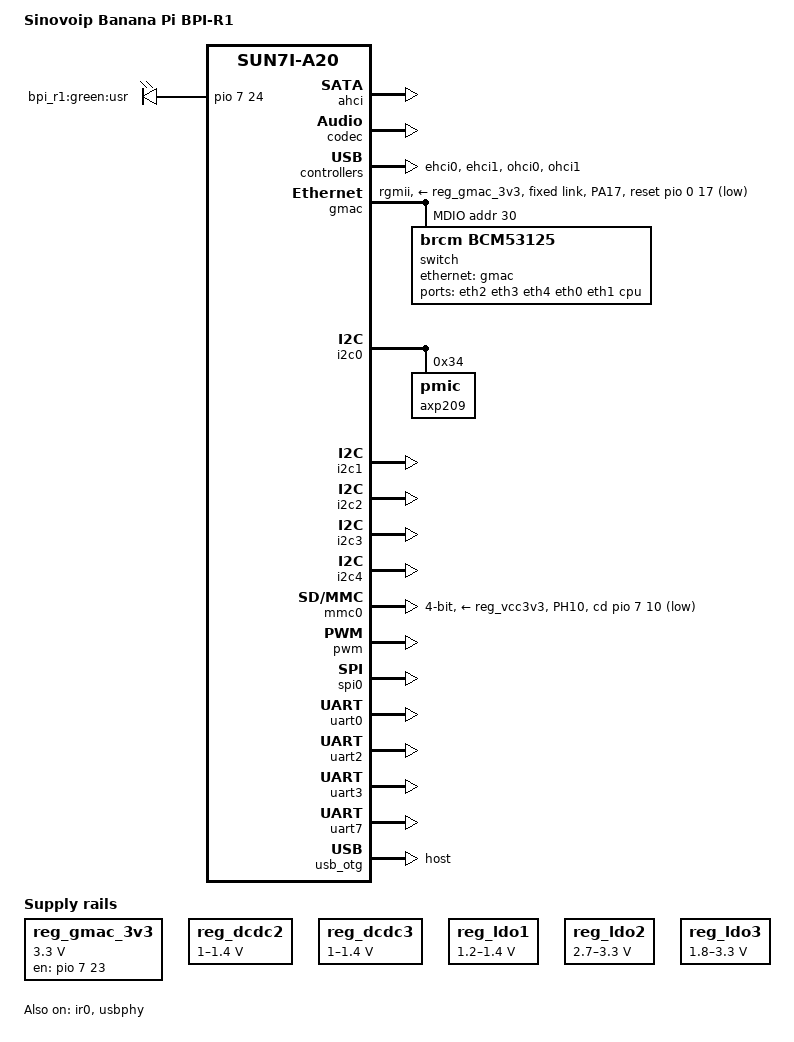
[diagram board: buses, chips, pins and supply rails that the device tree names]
/*
 * Copyright 2015 Jelle de Jong <jelledejong@powercraft.nl>
 * Changes copyright 2016 Stephen L Arnold <nerdboy@gentoo.org>
 *
 * This file is dual-licensed: you can use it either under the terms
 * of the GPL or the X11 license, at your option. Note that this dual
 * licensing only applies to this file, and not this project as a
 * whole.
 *
 *  a) This file is free software; you can redistribute it and/or
 *     modify it under the terms of the GNU General Public License as
 *     published by the Free Software Foundation; either version 2 of the
 *     License, or (at your option) any later version.
 *
 *     This file is distributed in the hope that it will be useful,
 *     but WITHOUT ANY WARRANTY; without even the implied warranty of
 *     MERCHANTABILITY or FITNESS FOR A PARTICULAR PURPOSE.  See the
 *     GNU General Public License for more details.
 *
 * Or, alternatively,
 *
 *  b) Permission is hereby granted, free of charge, to any person
 *     obtaining a copy of this software and associated documentation
 *     files (the "Software"), to deal in the Software without
 *     restriction, including without limitation the rights to use,
 *     copy, modify, merge, publish, distribute, sublicense, and/or
 *     sell copies of the Software, and to permit persons to whom the
 *     Software is furnished to do so, subject to the following
 *     conditions:
 *
 *     The above copyright notice and this permission notice shall be
 *     included in all copies or substantial portions of the Software.
 *
 *     THE SOFTWARE IS PROVIDED "AS IS", WITHOUT WARRANTY OF ANY KIND,
 *     EXPRESS OR IMPLIED, INCLUDING BUT NOT LIMITED TO THE WARRANTIES
 *     OF MERCHANTABILITY, FITNESS FOR A PARTICULAR PURPOSE AND
 *     NONINFRINGEMENT. IN NO EVENT SHALL THE AUTHORS OR COPYRIGHT
 *     HOLDERS BE LIABLE FOR ANY CLAIM, DAMAGES OR OTHER LIABILITY,
 *     WHETHER IN AN ACTION OF CONTRACT, TORT OR OTHERWISE, ARISING
 *     FROM, OUT OF OR IN CONNECTION WITH THE SOFTWARE OR THE USE OR
 *     OTHER DEALINGS IN THE SOFTWARE.
 */

/dts-v1/;
#include "sun7i-a20.dtsi"
#include "sunxi-common-regulators.dtsi"

#include <dt-bindings/gpio/gpio.h>
#include <dt-bindings/interrupt-controller/irq.h>
#include <dt-bindings/pinctrl/sun4i-a10.h>

/ {
	model = "Sinovoip Banana Pi BPI-R1";
	compatible = "sinovoip,sinovoip-bpi-r1", "allwinner,sun7i-a20";

	aliases {
		serial0 = &uart0;
		serial1 = &uart2;
		serial2 = &uart7;
	};

	chosen {
		stdout-path = "serial0:115200n8";
	};

	leds {
		compatible = "gpio-leds";
		pinctrl-names = "default";
		pinctrl-0 = <&led_pins_bpi_r1>;

		green {
			label = "bpi_r1:green:usr";
			gpios = <&pio 7 24 GPIO_ACTIVE_HIGH>;
			linux,default-trigger = "heartbeat";
		};
	};

//	reg_axp_ipsout: axp-ipsout {
//		compatible = "regulator-fixed";
//		regulator-name = "axp-ipsout";
//		regulator-min-microvolt = <5000000>;
//		regulator-max-microvolt = <5000000>;
//		regulator-always-on;
//	};

//	reg_dram_vcc: dram-vcc {
//		compatible = "regulator-fixed";
//		regulator-name = "dram-vcc";
//		regulator-min-microvolt = <1500000>;
//		regulator-max-microvolt = <1500000>;
//	};

	reg_gmac_3v3: gmac-3v3 {
		compatible = "regulator-fixed";
		pinctrl-names = "default";
		pinctrl-0 = <&gmac_power_pin_bpi_r1>;
		regulator-name = "gmac-3v3";
		regulator-min-microvolt = <3300000>;
		regulator-max-microvolt = <3300000>;
		startup-delay-us = <100000>;
		enable-active-high;
		gpio = <&pio 7 23 GPIO_ACTIVE_HIGH>; /* PH23 */
	};
};

&cpu0 {
	cpu-supply = <&reg_dcdc2>;
};

&ahci {
	target-supply = <&reg_ahci_5v>;
	status = "okay";
};

&codec {
	status = "okay";
};

&ehci0 {
	status = "okay";
};

&ehci1 {
	status = "okay";
};

&gmac {
	pinctrl-names = "default";
	pinctrl-0 = <&gmac_pins_rgmii_a>, <&gmac_phy_reset_pin_bpi_r1>;
	phy-mode = "rgmii";
	phy-supply = <&reg_gmac_3v3>;
	snps,reset-gpio = <&pio 0 17 GPIO_ACTIVE_HIGH>; /* PA17 */
	snps,reset-active-low;
	/* wait 1 sec after reset, otherwise fail to read phy id */
	snps,reset-delays-us = <0 10000 1000000>;
	status = "okay";

	/* 1 is ~10% faster than 2 on BPI-R1 */
	snps,pbl = <1>;

	fixed-link {
		speed = <1000>;
		full-duplex;
	};

	mdio {
		compatible = "snps,dwmac-mdio";
		#address-cells = <1>;
		#size-cells = <0>;

		switch: ethernet-switch@1e {
			compatible = "brcm,bcm53125";
			reg = <30>;
			#address-cells = <1>;
			#size-cells = <0>;

			ports {
				#address-cells = <1>;
				#size-cells = <0>;
				/* LAN ports numbered eth0-4 from right
				   to left (note there is no WAN port) */
				port0: port@0 {
					reg = <0>;
					label = "eth2";
				};

				port1: port@1 {
					reg = <1>;
					label = "eth3";
				};

				port2: port@2 {
					reg = <2>;
					label = "eth4";
				};

				port3: port@3 {
					reg = <3>;
					label = "eth0";
				};

				port4: port@4 {
					reg = <4>;
					label = "eth1";
				};

				port8: port@8 {
					reg = <8>;
					label = "cpu";
					ethernet = <&gmac>;
					phy-mode = "rgmii";
					fixed-link {
						speed = <1000>;
						full-duplex;
					};
				};
			};
		};
	};
};

&i2c0 {
	pinctrl-names = "default";
	pinctrl-0 = <&i2c0_pins_a>;
	status = "okay";

	axp209: pmic@34 {
		reg = <0x34>;
		interrupt-parent = <&nmi_intc>;
		interrupts = <0 IRQ_TYPE_LEVEL_LOW>;

//		acin-supply = <&reg_axp_ipsout>;
//		vin2-supply = <&reg_axp_ipsout>;
//		vin3-supply = <&reg_axp_ipsout>;
//		ldo24in-supply = <&reg_axp_ipsout>;
//		ldo3in-supply = <&reg_axp_ipsout>;

//		regulators {
//			vdd_rtc: ldo1 {
//				regulator-min-microvolt = <1300000>;
//				regulator-max-microvolt = <1300000>;
//				regulator-always-on;
//				regulator-name = "vdd-rtc";
//			};

//			avcc: ldo2 {
//				regulator-min-microvolt = <3000000>;
//				regulator-max-microvolt = <3000000>;
//				regulator-always-on;
//				regulator-name = "avcc";
//			};

//			vcc_csi0: ldo3 {
//				regulator-min-microvolt = <2800000>;
//				regulator-max-microvolt = <2800000>;
//				regulator-always-on;
//				regulator-name = "vcc-csi0";
//			};

//			vcc_csi1: ldo4 {
//				regulator-min-microvolt = <1250000>;
//				regulator-max-microvolt = <3300000>;
//				regulator-always-on;
//				regulator-name = "vcc-csi1";
//			};

//			vdd_cpu: dcdc2 {
//				regulator-min-microvolt = <1000000>;
//				regulator-max-microvolt = <1400000>;
//				regulator-always-on;
//				regulator-name = "vdd-cpu";
//			};

//			vdd_int: dcdc3 {
//				regulator-min-microvolt = <1000000>;
//				regulator-max-microvolt = <1400000>;
//				regulator-always-on;
//				regulator-name = "vdd-int-dll";
//			};
//		};
	};
};

&i2c1 {
	pinctrl-names = "default";
	pinctrl-0 = <&i2c1_pins_a>;
	status = "okay";
};

&i2c2 {
	pinctrl-names = "default";
	pinctrl-0 = <&i2c2_pins_a>;
	status = "okay";
};

&i2c3 {
	pinctrl-names = "default";
	pinctrl-0 = <&i2c3_pins_a>;
	status = "okay";
};

&i2c4 {
	/* this one goes on the Pi-style header; conflicts with pwm1 */
	pinctrl-names = "default";
	pinctrl-0 = <&i2c4_pins_a>;
	status = "okay";
};

&ir0 {
	pinctrl-names = "default";
	pinctrl-0 = <&ir0_rx_pins_a>;
	status = "okay";
};

&mmc0 {
	pinctrl-names = "default";
	pinctrl-0 = <&mmc0_pins_a>, <&mmc0_cd_pin_bpi_r1>;
	vmmc-supply = <&reg_vcc3v3>;
	bus-width = <4>;
	cd-gpios = <&pio 7 10 GPIO_ACTIVE_HIGH>; /* PH10 */
	cd-inverted;
	status = "okay";
};

&ohci0 {
	status = "okay";
};

&ohci1 {
	status = "okay";
};

&otg_sram {
	status = "okay";
};

&pio {
	usb0_id_detect_pin: usb0_id_detect_pin@0 {
		allwinner,pins = "PH4";
		allwinner,function = "gpio_in";
		allwinner,drive = <SUN4I_PINCTRL_10_MA>;
		allwinner,pull = <SUN4I_PINCTRL_NO_PULL>;
	};

	usb0_vbus_detect_pin: usb0_vbus_detect_pin@0 {
		allwinner,pins = "PH5";
		allwinner,function = "gpio_in";
		allwinner,drive = <SUN4I_PINCTRL_10_MA>;
		allwinner,pull = <SUN4I_PINCTRL_NO_PULL>;
	};

	usb0_vbus_pin_bpi_r1: usb0_vbus_pin@0 {
		allwinner,pins = "PB9";
		allwinner,function = "gpio_out";
		allwinner,drive = <SUN4I_PINCTRL_10_MA>;
		allwinner,pull = <SUN4I_PINCTRL_NO_PULL>;
	};

	usb2_vbus_pin_bpi_r1: usb2_vbus_pin@0 {
		allwinner,pins = "PH3";
		allwinner,function = "gpio_out";
		allwinner,drive = <SUN4I_PINCTRL_10_MA>;
		allwinner,pull = <SUN4I_PINCTRL_NO_PULL>;
	};

	mmc0_cd_pin_bpi_r1: mmc0_cd_pin@0 {
		allwinner,pins = "PH10";
		allwinner,function = "gpio_in";
		allwinner,drive = <SUN4I_PINCTRL_10_MA>;
		allwinner,pull = <SUN4I_PINCTRL_NO_PULL>;
	};

	gmac_power_pin_bpi_r1: gmac_power_pin@0 {
		allwinner,pins = "PH23";
		allwinner,function = "gpio_out";
		allwinner,drive = <SUN4I_PINCTRL_10_MA>;
		allwinner,pull = <SUN4I_PINCTRL_NO_PULL>;
	};

	gmac_phy_reset_pin_bpi_r1: gmac_phy_reset_pin@0 {
		allwinner,pins = "PA17";
		allwinner,function = "gpio_out";
		allwinner,drive = <SUN4I_PINCTRL_10_MA>;
		allwinner,pull = <SUN4I_PINCTRL_NO_PULL>;
	};

	led_pins_bpi_r1: led_pins@0 {
		allwinner,pins = "PH24";
		allwinner,function = "gpio_out";
		allwinner,drive = <SUN4I_PINCTRL_10_MA>;
		allwinner,pull = <SUN4I_PINCTRL_NO_PULL>;
	};
};

&pwm {
	pinctrl-names = "default";
	pinctrl-0 = <&pwm0_pins_a>;
	status = "okay";
};

&reg_ahci_5v {
	status = "okay";
};

&reg_usb0_vbus {
	status = "okay";
};

&reg_usb1_vbus {
	status = "okay";
};

&reg_usb2_vbus {
	status = "okay";
};

#include "axp209.dtsi"

&reg_dcdc2 {
	regulator-always-on;
	regulator-min-microvolt = <1000000>;
	regulator-max-microvolt = <1400000>;
	regulator-name = "vdd-cpu";
};

&reg_dcdc3 {
	regulator-always-on;
	regulator-min-microvolt = <1000000>;
	regulator-max-microvolt = <1400000>;
	regulator-name = "vdd-int-dll";
};

&reg_ldo1 {
	regulator-always-on;
	regulator-min-microvolt = <1200000>;
	regulator-max-microvolt = <1400000>;
	regulator-name = "vdd-rtc";
};

&reg_ldo2 {
	regulator-always-on;
	regulator-min-microvolt = <2700000>;
	regulator-max-microvolt = <3300000>;
	regulator-name = "avcc";
};

&reg_ldo3 {
	regulator-always-on;
	regulator-min-microvolt = <1800000>;
	regulator-max-microvolt = <3300000>;
	regulator-name = "vcc-csi0";
};

&spi0 {
	pinctrl-names = "default";
	pinctrl-0 = <&spi0_pins_a>,
		    <&spi0_cs0_pins_a>,
		    <&spi0_cs1_pins_a>;
	status = "okay";
};

&uart0 {
	pinctrl-names = "default";
	pinctrl-0 = <&uart0_pins_a>;
	status = "okay";
};

&uart2 {
	pinctrl-names = "default";
	pinctrl-0 = <&uart2_pins_a>;
	status = "okay";
};

&uart3 {
	pinctrl-names = "default";
	pinctrl-0 = <&uart3_pins_a>;
	status = "okay";
};

/* uart5 pins_a conflicts with spi0 pins_a */

&uart7 {
	pinctrl-names = "default";
	pinctrl-0 = <&uart7_pins_a>;
	status = "okay";
};

&usb_otg {
	dr_mode = "host";
	status = "okay";
};

&usbphy {
	pinctrl-names = "default";
	pinctrl-0 = <&usb0_id_detect_pin>;
	usb0_id_det-gpio = <&pio 7 4 GPIO_ACTIVE_HIGH>; /* PH4 */
	usb0_vbus-supply = <&reg_usb0_vbus>;
	usb1_vbus-supply = <&reg_usb1_vbus>;
	usb2_vbus-supply = <&reg_usb2_vbus>;
	status = "okay";
};
